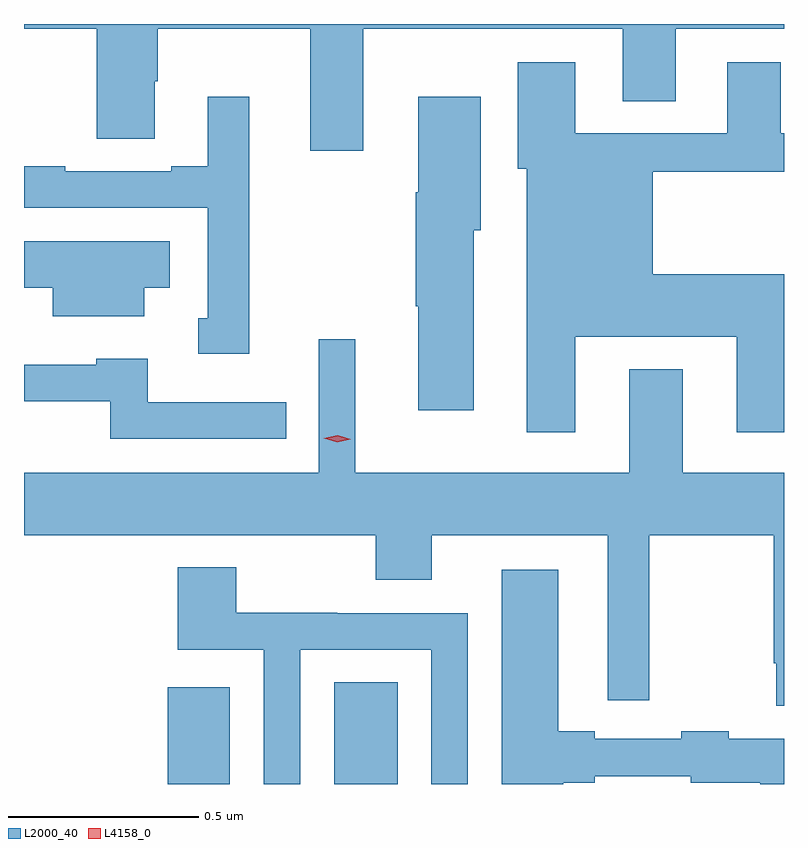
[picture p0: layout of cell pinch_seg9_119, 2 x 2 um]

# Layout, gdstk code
import gdstk
lib = gdstk.Library(unit=1e-6, precision=1e-09)
def R(c, l, rs):  # rectangles x0, y0, x1, y1
    for r in rs: c.add(gdstk.rectangle(r[:2], r[2:], *l))
def P(c, l, *ps):  # polygons
    for p in ps: c.add(gdstk.Polygon(p, *l))
L2000_40 = (2000, 40)
L4158_0 = (4158, 0)

pinch_seg9_119 = lib.new_cell('pinch_seg9_119')
R(pinch_seg9_119, L2000_40, [(848.882,1222.405,849.046,1222.66), (849.32,1222.405,849.487,1222.673)])
P(pinch_seg9_119, L2000_40, [(848.504,1224.392),(848.696,1224.392),(848.696,1224.103),(848.848,1224.103),(848.848,1224.254),(848.856,1224.254),(848.856,1224.392),(849.257,1224.392),(849.257,1224.072),(849.397,1224.072),(849.397,1224.392),(850.079,1224.392),(850.079,1224.202),(850.219,1224.202),(850.219,1224.392),(850.504,1224.392),(850.504,1224.405),(848.504,1224.405)],
  [(849.955,1223.582),(850.379,1223.582),(850.379,1223.331),(850.504,1223.331),(850.504,1223.746),(850.159,1223.746),(850.159,1224.016),(850.504,1224.016),(850.504,1224.117),(850.495,1224.117),(850.495,1224.304),(850.355,1224.304),(850.355,1224.117),(849.955,1224.117),(849.955,1224.304),(849.803,1224.304),(849.803,1224.024),(849.827,1224.024),(849.827,1223.331),(849.955,1223.331)],
  [(849.097,1224.214),(848.987,1224.214),(848.987,1224.031),(848.891,1224.031),(848.891,1224.018),(848.612,1224.018),(848.612,1224.031),(848.504,1224.031),(848.504,1223.922),(848.988,1223.922),(848.988,1223.631),(848.963,1223.631),(848.963,1223.537),(849.097,1223.537)],
  [(849.688,1223.862),(849.706,1223.862),(849.706,1224.214),(849.542,1224.214),(849.542,1223.962),(849.535,1223.962),(849.535,1223.662),(849.542,1223.662),(849.542,1223.388),(849.688,1223.388)],
  [(848.821,1223.711),(848.887,1223.711),(848.887,1223.833),(848.504,1223.833),(848.504,1223.711),(848.579,1223.711),(848.579,1223.636),(848.821,1223.636)],
  [(850.504,1223.224),(850.237,1223.224),(850.237,1223.497),(850.097,1223.497),(850.097,1223.224),(849.376,1223.224),(849.376,1223.575),(849.279,1223.575),(849.279,1223.224),(848.504,1223.224),(848.504,1223.06),(849.43,1223.06),(849.43,1222.943),(849.577,1222.943),(849.577,1223.06),(850.04,1223.06),(850.04,1222.626),(850.15,1222.626),(850.15,1223.06),(850.477,1223.06),(850.477,1222.723),(850.484,1222.723),(850.484,1222.611),(850.504,1222.611)],
  [(849.194,1223.409),(848.83,1223.409),(848.83,1223.524),(848.694,1223.524),(848.694,1223.508),(848.504,1223.508),(848.504,1223.412),(848.731,1223.412),(848.731,1223.313),(849.194,1223.313)],
  [(849.231,1222.758),(849.576,1222.758),(849.576,1222.405),(849.672,1222.405),(849.672,1222.854),(849.328,1222.854),(849.328,1222.856),(849.063,1222.856),(849.063,1222.975),(848.908,1222.975),(848.908,1222.758),(849.135,1222.758),(849.135,1222.405),(849.231,1222.405)],
  [(849.923,1222.408),(850.006,1222.408),(850.006,1222.426),(850.258,1222.426),(850.258,1222.408),(850.442,1222.408),(850.442,1222.405),(850.504,1222.405),(850.504,1222.524),(850.358,1222.524),(850.358,1222.544),(850.234,1222.544),(850.234,1222.524),(850.006,1222.524),(850.006,1222.544),(849.91,1222.544),(849.91,1222.969),(849.761,1222.969),(849.761,1222.405),(849.923,1222.405)])
P(pinch_seg9_119, L4158_0, [(849.328,1223.304),(849.293,1223.315),(849.293,1223.315),(849.293,1223.315),(849.329,1223.323),(849.364,1223.312),(849.364,1223.312),(849.364,1223.312)])

lib.write_gds('pinch_seg9_119.gds')
